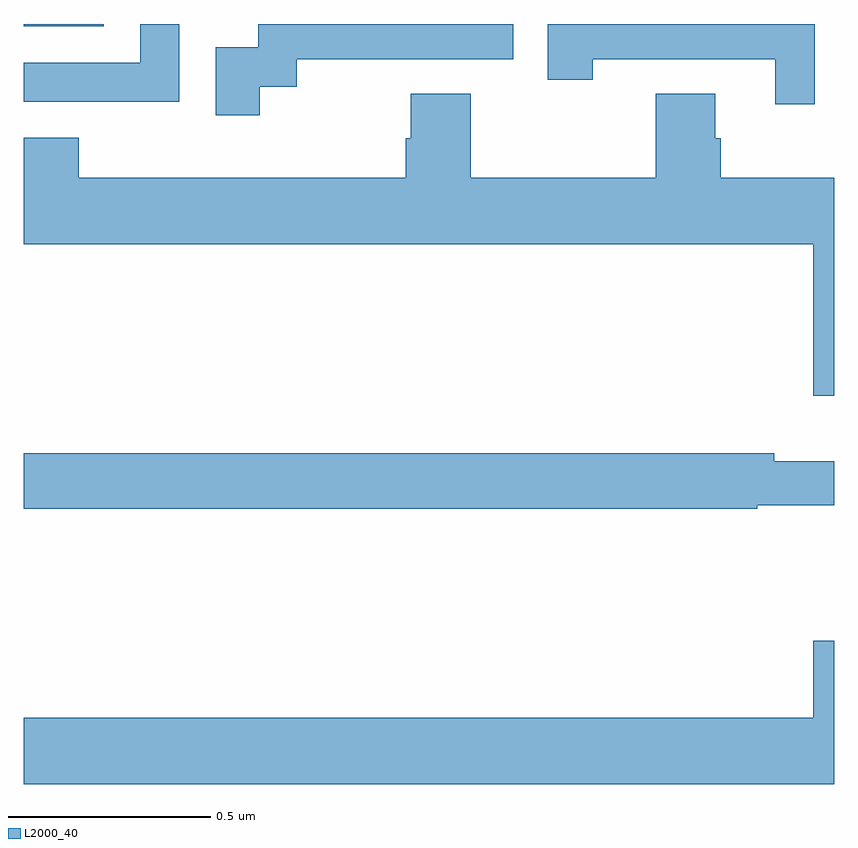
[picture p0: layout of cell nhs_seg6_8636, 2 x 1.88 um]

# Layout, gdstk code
import gdstk
lib = gdstk.Library(unit=1e-6, precision=1e-09)
def R(c, l, rs):  # rectangles x0, y0, x1, y1
    for r in rs: c.add(gdstk.rectangle(r[:2], r[2:], *l))
def P(c, l, *ps):  # polygons
    for p in ps: c.add(gdstk.Polygon(p, *l))
L2000_40 = (2000, 40)

nhs_seg6_8636 = lib.new_cell('nhs_seg6_8636')
R(nhs_seg6_8636, L2000_40, [(223,994.494,223.197,994.5)])
P(nhs_seg6_8636, L2000_40, [(223.383,994.5),(223.287,994.5),(223.287,994.404),(223,994.404),(223,994.308),(223.383,994.308)],
  [(224.952,994.5),(224.293,994.5),(224.293,994.362),(224.404,994.362),(224.404,994.413),(224.855,994.413),(224.855,994.302),(224.952,994.302)],
  [(223.582,994.345),(223.674,994.345),(223.674,994.413),(224.208,994.413),(224.208,994.5),(223.578,994.5),(223.578,994.443),(223.473,994.443),(223.473,994.275),(223.582,994.275)],
  [(225,994.12),(224.72,994.12),(224.72,994.218),(224.707,994.218),(224.707,994.328),(224.56,994.328),(224.56,994.12),(224.103,994.12),(224.103,994.328),(223.955,994.328),(223.955,994.218),(223.943,994.218),(223.943,994.12),(223.136,994.12),(223.136,994.219),(223,994.219),(223,993.956),(224.948,993.956),(224.948,993.582),(225,993.582)],
  [(224.81,993.312),(225,993.312),(225,993.421),(224.852,993.421),(224.852,993.44),(223,993.44),(223,993.304),(224.81,993.304)],
  [(225,992.977),(224.948,992.977),(224.948,992.788),(223,992.788),(223,992.624),(225,992.624)])

lib.write_gds('nhs_seg6_8636.gds')
